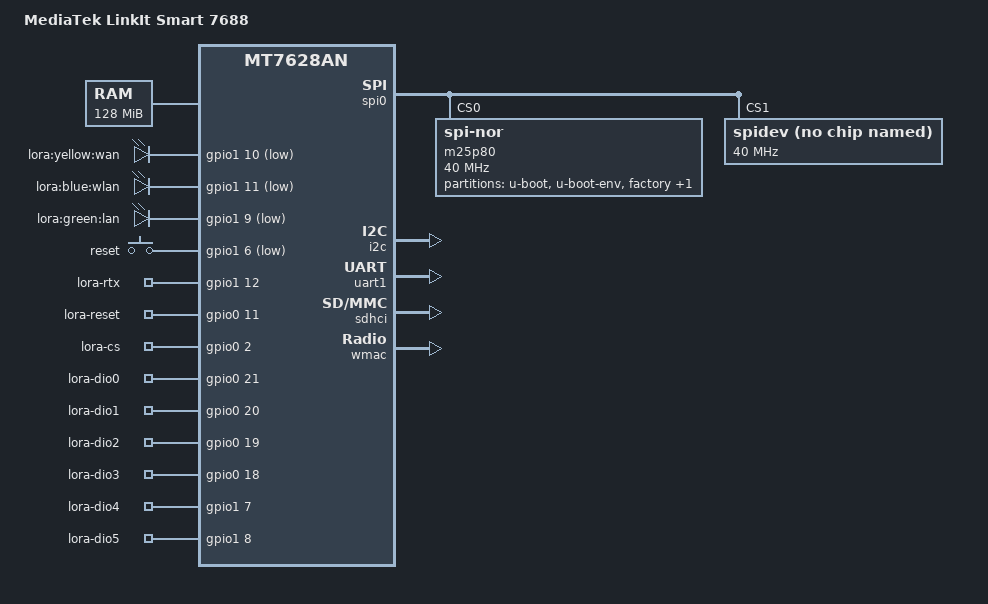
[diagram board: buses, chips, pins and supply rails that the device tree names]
/dts-v1/;

#include "mt7628an.dtsi"

#include <dt-bindings/gpio/gpio.h>
#include <dt-bindings/input/input.h>

/ {
	compatible = "mediatek,linkit-smart-7688", "mediatek,mt7628an-soc";
	model = "MediaTek LinkIt Smart 7688";

	aliases {
		led-boot = &led_wifi;
		led-failsafe = &led_wifi;
		led-running = &led_wifi;
		led-upgrade = &led_wifi;
	};

	chosen {
		bootargs = "console=ttyS0,57600,root=/dev/mtdblock5";
	};


	memory@0 {
		device_type = "memory";
		reg = <0x0 0x8000000>;
	};

	bootstrap {
		compatible = "mediatek,linkit";

		status = "okay";
	};

	leds {
		compatible = "gpio-leds";

		wan {
			label = "lora:yellow:wan";
			gpios = <&gpio1 10 GPIO_ACTIVE_LOW>;
		};
		led_wifi:wifi {
 			label = "lora:blue:wlan";
			gpios = <&gpio1 11 GPIO_ACTIVE_LOW>;
        };
		lan {
 			label = "lora:green:lan";
			gpios = <&gpio1 9 GPIO_ACTIVE_LOW>;
        };
	};

	keys {
		compatible = "gpio-keys-polled";
		poll-interval = <20>;

		wps {
			label = "reset";
			gpios = <&gpio1 6 GPIO_ACTIVE_LOW>;
			linux,code = <KEY_WPS_BUTTON>;
		};
	};
	
	
	lora-pins {
		compatible = "gpio-export";
		#size-cells = <0>;

		lora-rtx {
			gpio-export,name = "lora-rtx";
			gpio-export,output = <0>;
			gpios = <&gpio1 12 0>;
		};
		lora-reset {
			gpio-export,name = "lora-reset";
			gpio-export,output = <1>;
			gpios = <&gpio0 11 0>;
		};
		lora-cs {
			gpio-export,name = "lora-cs";
			gpio-export,output = <1>;
			gpios = <&gpio0 2 0>;
		};
		lora-dio0 {
			gpio-export,name = "lora-dio0";
			gpio-export,direction_may_change = <1>;
			gpios = <&gpio0 21 0>;
		};
		lora-dio1 {
			gpio-export,name = "lora-dio1";
			gpio-export,direction_may_change = <1>;
			gpios = <&gpio0 20 0>;
		};
		lora-dio2 {
			gpio-export,name = "lora-dio2";
			gpio-export,direction_may_change = <1>;
			gpios = <&gpio0 19 0>;
		};
		lora-dio3 {
			gpio-export,name = "lora-dio3";
			gpio-export,direction_may_change = <1>;
			gpios = <&gpio0 18 0>;
		};
		lora-dio4 {
			gpio-export,name = "lora-dio4";
			gpio-export,direction_may_change = <1>;
			gpios = <&gpio1 7 0>;
		};
		lora-dio5 {
			gpio-export,name = "lora-dio5";
			gpio-export,direction_may_change = <1>;
			gpios = <&gpio1 8 0>;
		};
	};
};

&pinctrl {
	state_default: pinctrl0 {
		gpio {
			ralink,group = "gpio";
			ralink,function = "gpio";
		};

		refclk {
			ralink,group = "refclk";
			ralink,function = "gpio";
		};

		i2s {
			ralink,group = "i2s";
			ralink,function = "gpio";
		};

		spis {
			ralink,group = "spis";
			ralink,function = "gpio";
		};

		wled_an {
			ralink,group = "wled_an";
			ralink,function = "gpio";
		};

		wdt {
			ralink,group = "wdt";
			ralink,function = "gpio";
		};
	};
};

&spi0 {
	status = "okay";

	pinctrl-names = "default";
	pinctrl-0 = <&spi_pins>, <&spi_cs1_pins>;

	m25p80@0 {
		compatible = "jedec,spi-nor";
		reg = <0>;
		spi-max-frequency = <40000000>;

		partitions {
			compatible = "fixed-partitions";
			#address-cells = <1>;
			#size-cells = <1>;

			partition@0 {
				label = "u-boot";
				reg = <0x0 0x30000>;
				read-only;
			};

			partition@30000 {
				label = "u-boot-env";
				reg = <0x30000 0x10000>;
			};

			factory: partition@40000 {
				label = "factory";
				reg = <0x40000 0x10000>;
				read-only;
			};

			partition@50000 {
				compatible = "denx,uimage";
				label = "firmware";
				reg = <0x50000 0x1fb0000>;
			};
		};
	};

	spidev@1 {
		#address-cells = <1>;
		#size-cells = <1>;
		compatible = "linux,spidev";
		reg = <1>;
		spi-max-frequency = <40000000>;
	};
};

&i2c {
	status = "okay";
};

&uart1 {
	status = "okay";
};

&ethernet {
	mtd-mac-address = <&factory 0x28>;
};

&sdhci {
	status = "okay";
	mediatek,cd-low;
};

&wmac {
	status = "okay";
};
